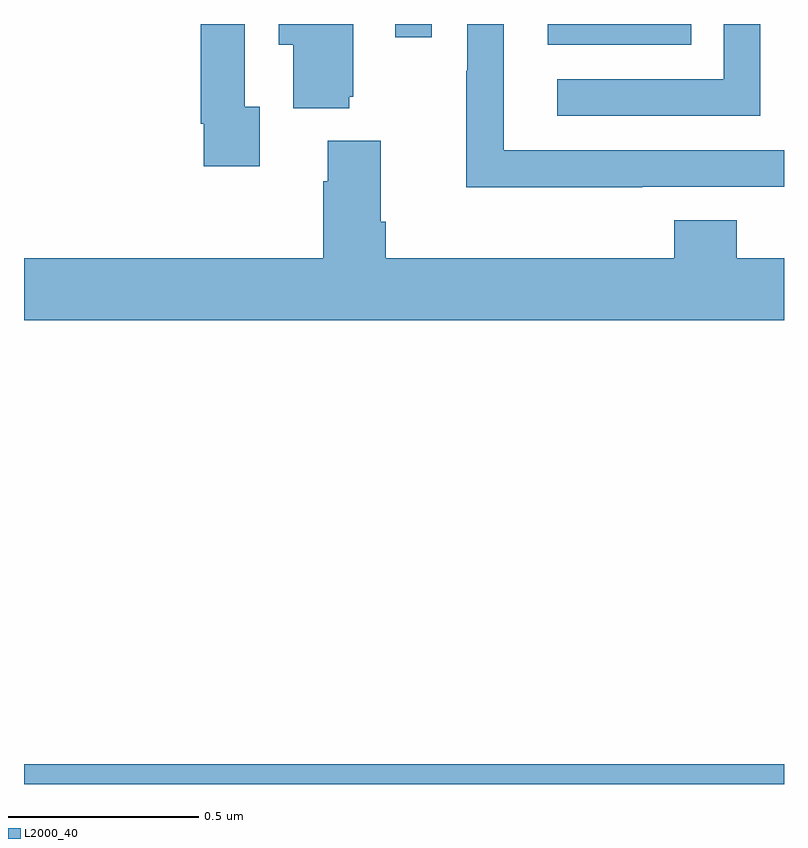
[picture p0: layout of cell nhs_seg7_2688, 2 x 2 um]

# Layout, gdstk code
import gdstk
lib = gdstk.Library(unit=1e-6, precision=1e-09)
def R(c, l, rs):  # rectangles x0, y0, x1, y1
    for r in rs: c.add(gdstk.rectangle(r[:2], r[2:], *l))
def P(c, l, *ps):  # polygons
    for p in ps: c.add(gdstk.Polygon(p, *l))
L2000_40 = (2000, 40)

nhs_seg7_2688 = lib.new_cell('nhs_seg7_2688')
R(nhs_seg7_2688, L2000_40, [(148,1062,150,1062.052), (149.378,1063.946,149.756,1064), (148.977,1063.965,149.073,1064)])
P(nhs_seg7_2688, L2000_40, [(149.627,1063.572),(150,1063.572),(150,1063.668),(149.262,1063.668),(149.262,1064),(149.166,1064),(149.166,1063.877),(149.164,1063.877),(149.164,1063.571),(149.627,1063.571)],
  [(148.621,1063.782),(148.581,1063.782),(148.581,1064),(148.465,1064),(148.465,1063.738),(148.473,1063.738),(148.473,1063.626),(148.621,1063.626)],
  [(149.937,1064),(149.841,1064),(149.841,1063.854),(149.403,1063.854),(149.403,1063.758),(149.937,1063.758)],
  [(148.856,1063.809),(148.867,1063.809),(148.867,1064),(148.67,1064),(148.67,1063.946),(148.709,1063.946),(148.709,1063.778),(148.856,1063.778)],
  [(150,1063.384),(149.876,1063.384),(149.876,1063.483),(149.711,1063.483),(149.711,1063.384),(148.952,1063.384),(148.952,1063.48),(148.939,1063.48),(148.939,1063.693),(148.799,1063.693),(148.799,1063.586),(148.787,1063.586),(148.787,1063.384),(148,1063.384),(148,1063.22),(150,1063.22)])

lib.write_gds('nhs_seg7_2688.gds')
